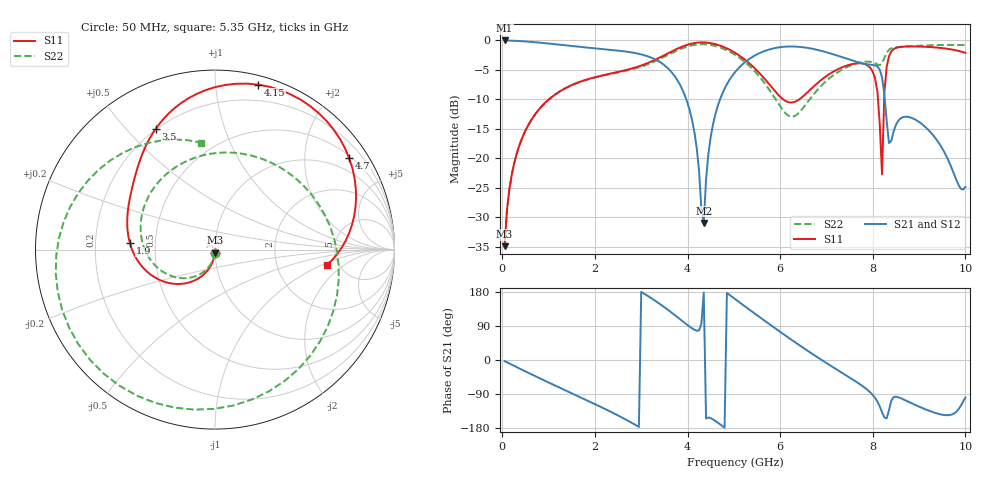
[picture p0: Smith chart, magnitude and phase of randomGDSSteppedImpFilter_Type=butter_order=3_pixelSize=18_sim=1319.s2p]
! freq	dB(S11)	phase(S11)	dB(S12)	phase(S12)
!  dB(S21)	phase(S21)	dB(S22)	phase(S22)
!S-par simulation data
#  GHz  S  DB  R 50
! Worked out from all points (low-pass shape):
!   200 points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, 50 MHz to 10 GHz, reference 50 ohm
!   highest |S21| = -0.01 dB at 50 MHz (marker M1); lowest = -31.0 dB at 4.35 GHz (marker M2)
!   |S21| within 3 dB of the highest: start of sweep to 3.243 GHz; 5.359 GHz to 7.402 GHz (2.043 GHz wide, 32 % of centre)
!   lowest |S11| = -34.9 dB at 50 MHz (marker M3), VSWR 1.04, Z = 49.9 - j1.79 ohm
!   |S11| at or under -10 dB: start of sweep to 1.007 GHz; 6.066 GHz to 6.412 GHz (346.1 MHz wide, 5.55 % of centre); 8.112 GHz to 8.246 GHz (133.6 MHz wide, 1.63 % of centre)
!   |S22| runs from -34.9 to -0.6 dB; largest |S21 - S12| = 0
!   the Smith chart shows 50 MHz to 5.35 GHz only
!   S11 on the Smith chart (normalised r, x): 50 MHz: 1.00, -0.04; 1.9 GHz: 0.36, +0.03; 3.5 GHz: 0.20, +0.61; 4.15 GHz: 0.07, +1.29; 4.7 GHz: 0.56, +3.15; 5.35 GHz: 4.10, -1.13
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0.05  -34.91 -92.8  -0.01 -3.1  -0.01 -3.1  -34.89 -93.3
0.5  -15.30 -117.7  -0.17 -30.2  -0.17 -30.2  -15.31 -123.7
1.75  -6.82 -178.1  -1.15 -102.1  -1.15 -102.1  -6.85 152.7
1.9  -6.46 175.7  -1.27 -110.6  -1.27 -110.6  -6.50 141.9
2.75  -4.87 144.5  -1.98 -162.6  -1.98 -162.6  -5.01 68.8
3.4  -2.90 120.8  -3.65 148.0  -3.65 148.0  -3.17 -7.3
3.5  -2.50 116.1  -4.20 139.3  -4.20 139.3  -2.78 -20.6
4.15  -0.45 75.4  -15.63 79.6  -15.63 79.6  -0.76 -111.3
4.35  -0.34 60.4  -30.95 177.7  -30.95 177.7  -0.65 -138.7
4.7  -0.87 34.2  -10.04 -169.4  -10.04 -169.4  -1.19 176.1
5.05  -2.21 10.2  -5.16 158.6  -5.16 158.6  -2.56 133.5
5.35  -3.98 -7.5  -3.05 131.5  -3.05 131.5  -4.43 97.3
5.9  -8.71 -23.4  -1.28 83.0  -1.28 83.0  -9.98 18.6
6.7  -7.99 -3.6  -1.42 15.7  -1.42 15.7  -9.37 -151.0
7.25  -4.86 -23.3  -2.61 -27.3  -2.61 -27.3  -5.36 143.8
7.95  -4.69 -71.9  -4.12 -86.0  -4.12 -86.0  -3.63 82.4
8.1  -8.65 -96.3  -4.43 -109.9  -4.43 -109.9  -4.08 74.4
8.2  -22.70 11.6  -6.29 -137.7  -6.29 -137.7  -3.88 76.7
8.25  -8.89 14.7  -9.14 -151.8  -9.14 -151.8  -2.97 76.4
8.35  -2.69 -19.8  -17.41 -132.4  -17.41 -132.4  -1.58 65.9
9.05  -1.05 -94.1  -14.13 -125.7  -14.13 -125.7  -0.88 11.3
10  -2.10 -173.2  -24.85 -99.0  -24.85 -99.0  -0.80 -40.9
